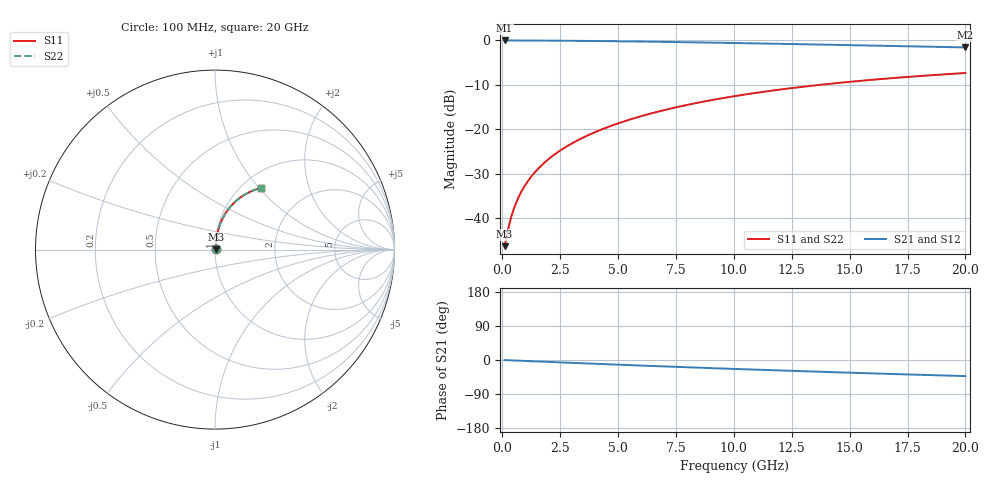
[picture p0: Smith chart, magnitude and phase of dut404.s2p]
! Touchstone file exported from HFSS 2024.1.0
!  File:  C:/UserFiles/LocalFiles/RDL_TSV_Batchsim/temp_RDL_bottom_404_1779683003.aedt
!  Generated:  12:26:12 PM May 25, 2026
!  Design:  RDL_bottom
!  Project:  temp_RDL_bottom_404_1779683003
!  Setup:  Setup1
!  Solution:  Sweep
! Variables:
!  dtsv = 10.80580581um
!  hbump = 3um
!  htsv = 76.57um
!  ldown = 549.81um
!  lrdl = 100um
!  p = 40
!  p1 = 54.92um
!  rhole = 1um
!  t = 450um
!  tdown = 2.51um
!  trdl = 3.915915916um
!  wdown = 19.64um
!  wrdl = 20um
# GHz S MA R 50.000000
! Terminal data exported
! Port[1] = RDL1_T1
! Port[2] = RDL1_T2
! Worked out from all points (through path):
!   200 points, 100 MHz to 20 GHz, reference 50 ohm
!   highest |S21| = -0.04 dB at 100 MHz (marker M1); lowest = -1.6 dB at 20 GHz (marker M2)
!   group delay of S21, straight-line fit = 5.88 ps
!   lowest |S11| = -46.3 dB at 100 MHz (marker M3), VSWR 1.01, Z = 50.4 + j0.248 ohm
!   |S11| at or under -10 dB: start of sweep to 13.74 GHz
!   |S22| runs from -46.3 to -7.4 dB; largest |S21 - S12| = 2.1e-15
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0.1  0.004852 30.4  0.9958 -0.3  0.9958 -0.3  0.004853 30.4
! Gamma 0 0 0 0
! Port Impedance 50 0 50 0
0.3  0.008509 58.6  0.9955 -0.8  0.9955 -0.8  0.008509 58.6
0.4  0.01064 64.4  0.9953 -1.0  0.9953 -1.0  0.01064 64.4
0.5  0.01282 68.2  0.9951 -1.3  0.9951 -1.3  0.01282 68.2
0.6  0.015 70.8  0.9949 -1.6  0.9949 -1.6  0.015 70.8
0.8  0.01939 74.3  0.9945 -2.1  0.9945 -2.1  0.01939 74.3
1.1  0.02601 77.4  0.9939 -2.8  0.9939 -2.8  0.02601 77.4
1.3  0.03046 78.7  0.9934 -3.3  0.9934 -3.3  0.03046 78.7
1.6  0.03719 80.0  0.9926 -4.1  0.9926 -4.1  0.03719 80.0
2.1  0.04851 81.1  0.991 -5.3  0.991 -5.3  0.04851 81.1
2.7  0.06228 81.7  0.9886 -6.8  0.9886 -6.8  0.06227 81.7
3.5  0.08088 81.6  0.9846 -8.8  0.9846 -8.8  0.08088 81.6
4.2  0.09737 81.2  0.9806 -10.5  0.9806 -10.5  0.09736 81.1
5  0.1164 80.3  0.9753 -12.4  0.9753 -12.4  0.1164 80.3
5.9  0.138 79.1  0.9686 -14.5  0.9686 -14.5  0.1379 79.1
6.8  0.1596 77.7  0.9614 -16.5  0.9614 -16.5  0.1595 77.7
8.4  0.1977 74.9  0.9475 -20.1  0.9475 -20.1  0.1976 74.9
10.1  0.2372 71.7  0.9316 -23.7  0.9316 -23.7  0.2371 71.7
11.7  0.273 68.6  0.9159 -27.0  0.9159 -27.0  0.2729 68.6
13.4  0.3092 65.3  0.8988 -30.4  0.8988 -30.4  0.3091 65.3
16.7  0.3733 59.1  0.8651 -36.7  0.8651 -36.7  0.3731 59.1
20  0.4288 53.3  0.8316 -42.5  0.8316 -42.5  0.4287 53.2
